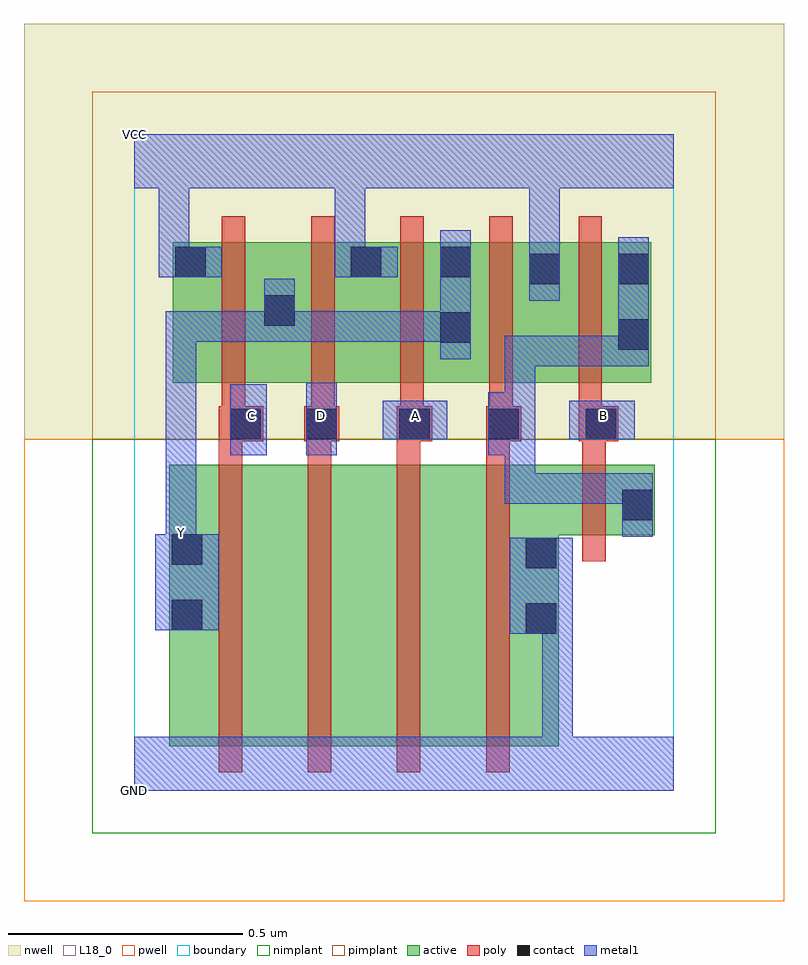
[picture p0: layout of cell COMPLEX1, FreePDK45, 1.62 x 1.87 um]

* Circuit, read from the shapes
.subckt COMPLEX1 A B C D GND VCC Y
M1 n1 C Y VSUBS nfet w=0.6u l=0.05u
M2 n2 D n1 VSUBS nfet w=0.6u l=0.05u
M3 n3 A n2 VSUBS nfet w=0.6u l=0.05u
M4 GND n4 n3 VSUBS nfet w=0.6u l=0.05u
M5 n4 B GND VSUBS nfet w=0.15u l=0.05u
M6 Y C VCC n5 pfet w=0.3u l=0.05u
M7 VCC D Y n5 pfet w=0.3u l=0.05u
M8 Y A VCC n5 pfet w=0.3u l=0.05u
M9 VCC n4 Y n5 pfet w=0.3u l=0.05u
M10 n4 B VCC n5 pfet w=0.3u l=0.05u
.ends

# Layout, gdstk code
import gdstk
lib = gdstk.Library(unit=1e-6, precision=1e-09)
def R(c, l, rs):  # rectangles x0, y0, x1, y1
    for r in rs: c.add(gdstk.rectangle(r[:2], r[2:], *l))
def A(c, l, x, y, w, h, nx, ny, dx, dy):  # array of equal rectangles
    R(c, l, [(x+i*dx, y+j*dy, x+i*dx+w, y+j*dy+h) for i in range(nx) for j in range(ny)])
active = (1, 0)
pwell = (2, 0)
nwell = (3, 0)
nimplant = (4, 0)
pimplant = (5, 0)
poly = (9, 0)
contact = (10, 0)
metal1 = (11, 0)
L18_0 = (18, 0)
boundary = (235, 0)

complex1 = lib.new_cell('COMPLEX1')
A(complex1, active, 0.457, 0.87, 0.265, 0.3, 3, 1, 0.19, 0)
R(complex1, active, [(0.075,0.095,0.3,0.695), (0.075,0.095,0.18,0.695), (0.3,0.095,0.49,0.695), (0.49,0.095,0.68,0.695), (0.68,0.095,0.905,0.695), (0.83,0.095,0.905,0.695), (0.83,0.545,1.11,0.695), (1.035,0.545,1.11,0.695), (0.082,0.87,0.347,1.17), (0.082,0.87,0.157,1.167), (0.272,0.87,0.532,1.17), (1.027,0.87,1.102,1.17), (0.272,0.907,0.347,1.167), (0.647,0.95,0.722,1.167), (0.457,1.005,0.532,1.167), (0.837,1.007,0.912,1.17)])
R(complex1, pwell, [(-0.235,-0.235,1.385,0.75)])
R(complex1, nwell, [(-0.235,0.75,1.385,1.635)])
R(complex1, nimplant, [(-0.09,-0.09,1.24,0.75)])
R(complex1, pimplant, [(-0.09,0.75,1.24,1.49)])
A(complex1, poly, 0.18, 0.04, 0.05, 0.71, 4, 1, 0.19, 0)
A(complex1, poly, 0.18, 0.7, 0.05, 0.095, 4, 1, 0.19, 0)
A(complex1, poly, 0.187, 0.77, 0.05, 0.095, 5, 1, 0.19, 0)
A(complex1, poly, 0.187, 0.815, 0.05, 0.41, 5, 1, 0.19, 0)
R(complex1, poly, [(0.955,0.49,1.005,0.75), (0.955,0.7,1.005,0.795), (0.18,0.745,0.275,0.82), (0.362,0.745,0.437,0.82), (0.56,0.745,0.635,0.82), (0.75,0.745,0.825,0.82), (0.947,0.745,1.032,0.82)])
R(complex1, contact, [(0.835,0.335,0.9,0.4), (0.08,0.342,0.145,0.407), (0.835,0.475,0.9,0.54), (0.08,0.482,0.145,0.547), (1.04,0.577,1.105,0.642), (0.205,0.75,0.27,0.815), (0.367,0.75,0.432,0.815), (0.565,0.75,0.63,0.815), (0.755,0.75,0.82,0.815), (0.962,0.75,1.027,0.815), (1.032,0.94,1.097,1.005), (0.652,0.955,0.717,1.02), (0.277,0.992,0.342,1.057), (0.842,1.08,0.907,1.145), (1.032,1.08,1.097,1.145), (0.087,1.095,0.152,1.16), (0.462,1.095,0.527,1.16), (0.652,1.095,0.717,1.16)])
R(complex1, metal1, [(0,0,1.15,0.115), (0.87,0.05,0.935,0.4), (0.8,0.335,0.935,0.54), (0.045,0.342,0.18,0.547), (0.067,0.482,0.132,0.547), (0.067,0.482,0.132,0.617), (1.04,0.542,1.105,0.677), (0.067,0.552,0.132,1.022), (0.79,0.612,0.855,0.677), (0.79,0.612,1.105,0.677), (0.79,0.612,0.855,0.78), (1.04,0.612,1.105,0.677), (1.04,0.612,1.105,0.677), (0.205,0.715,0.282,0.867), (0.367,0.715,0.432,0.87), (0.755,0.715,0.82,0.85), (0.755,0.715,0.855,0.78), (0.79,0.715,0.855,0.78), (0.79,0.715,0.855,0.97), (0.53,0.75,0.667,0.832), (0.927,0.75,1.067,0.832), (0.79,0.905,0.855,0.97), (0.79,0.905,1.097,0.97), (1.032,0.905,1.097,0.97), (1.032,0.905,1.097,0.97), (1.032,0.905,1.097,1.18), (0.652,0.92,0.717,1.195), (0.067,0.957,0.132,1.022), (0.067,0.957,0.132,1.022), (0.067,0.957,0.132,1.022), (0.067,0.957,0.342,1.022), (0.277,0.957,0.342,1.022), (0.277,0.957,0.342,1.022), (0.277,0.957,0.342,1.092), (0.277,0.957,0.58,1.022), (0.515,0.957,0.58,1.022), (0.515,0.957,0.58,1.022), (0.515,0.957,0.58,1.022), (0.515,0.957,0.717,1.022), (0.842,1.045,0.907,1.18), (0.052,1.095,0.117,1.35), (0.052,1.095,0.187,1.16), (0.427,1.095,0.492,1.16), (0.427,1.095,0.492,1.16), (0.427,1.095,0.492,1.35), (0.427,1.095,0.562,1.16), (0.842,1.115,0.907,1.18), (0.842,1.115,0.907,1.18), (0.842,1.115,0.907,1.35), (0,1.285,1.15,1.4), (0.052,1.285,0.117,1.35), (0.052,1.285,0.117,1.35)])
R(complex1, L18_0, [(0,0,1.15,0.115), (0.87,0.05,0.935,0.4), (0.8,0.335,0.935,0.54), (0.045,0.342,0.18,0.547), (0.067,0.482,0.132,0.617), (0.067,0.482,0.132,0.547), (0.067,0.517,0.132,0.582), (0.067,0.552,0.132,1.022), (0.205,0.715,0.282,0.867), (0.367,0.715,0.432,0.87), (0.53,0.75,0.667,0.832), (0.927,0.75,1.067,0.832), (0.217,0.767,0.282,0.832), (0.367,0.767,0.432,0.832), (0.567,0.767,0.632,0.832), (0.967,0.767,1.032,0.832), (0.652,0.92,0.717,1.195), (0.067,0.957,0.132,1.022), (0.067,0.957,0.132,1.022), (0.067,0.957,0.132,1.022), (0.067,0.957,0.342,1.022), (0.277,0.957,0.342,1.092), (0.277,0.957,0.342,1.022), (0.277,0.957,0.342,1.022), (0.277,0.957,0.58,1.022), (0.515,0.957,0.58,1.022), (0.515,0.957,0.58,1.022), (0.515,0.957,0.58,1.022), (0.515,0.957,0.717,1.022), (0.842,1.045,0.907,1.18), (0.052,1.095,0.187,1.16), (0.052,1.095,0.117,1.35), (0.427,1.095,0.492,1.16), (0.427,1.095,0.492,1.16), (0.427,1.095,0.562,1.16), (0.427,1.095,0.492,1.35), (0.842,1.115,0.907,1.18), (0.842,1.115,0.907,1.18), (0.842,1.115,0.907,1.35), (0,1.285,1.15,1.4), (0.052,1.285,0.117,1.35), (0.052,1.285,0.117,1.35)])
R(complex1, boundary, [(0,0,1.15,1.4)])
complex1.add(gdstk.Label('A', (0.6,0.8), layer=11, texttype=0))
complex1.add(gdstk.Label('B', (1,0.8), layer=11, texttype=0))
complex1.add(gdstk.Label('C', (0.25,0.8), layer=11, texttype=0))
complex1.add(gdstk.Label('D', (0.4,0.8), layer=11, texttype=0))
complex1.add(gdstk.Label('Y', (0.1,0.55), layer=11, texttype=0))
complex1.add(gdstk.Label('VCC', (0,1.4), layer=11, texttype=0))
complex1.add(gdstk.Label('GND', (0,0), layer=11, texttype=0))

lib.write_gds('COMPLEX1.gds')
